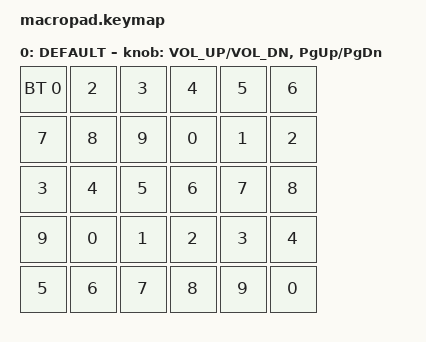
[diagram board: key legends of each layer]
#include <behaviors.dtsi>
#include <dt-bindings/zmk/keys.h>
#include <dt-bindings/zmk/bt.h>
#include <dt-bindings/zmk/outputs.h>

/ {   
    keymap {
        compatible = "zmk,keymap";
        default_layer {
            label = "DEFAULT";
            bindings = <
                &bt BT_SEL 0  &kp N2  &kp N3  &kp N4  &kp N5  &kp N6
                &kp N7  &kp N8  &kp N9  &kp N0  &kp N1  &kp N2
                &kp N3  &kp N4  &kp N5  &kp N6  &kp N7  &kp N8
                &kp N9  &kp N0  &kp N1  &kp N2  &kp N3  &kp N4
                &kp N5  &kp N6  &kp N7  &kp N8  &kp N9  &kp N0
            >;
            sensor-bindings = <&inc_dec_kp C_VOL_UP C_VOL_DN &inc_dec_kp PG_UP PG_DN>;
        };
    };
};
